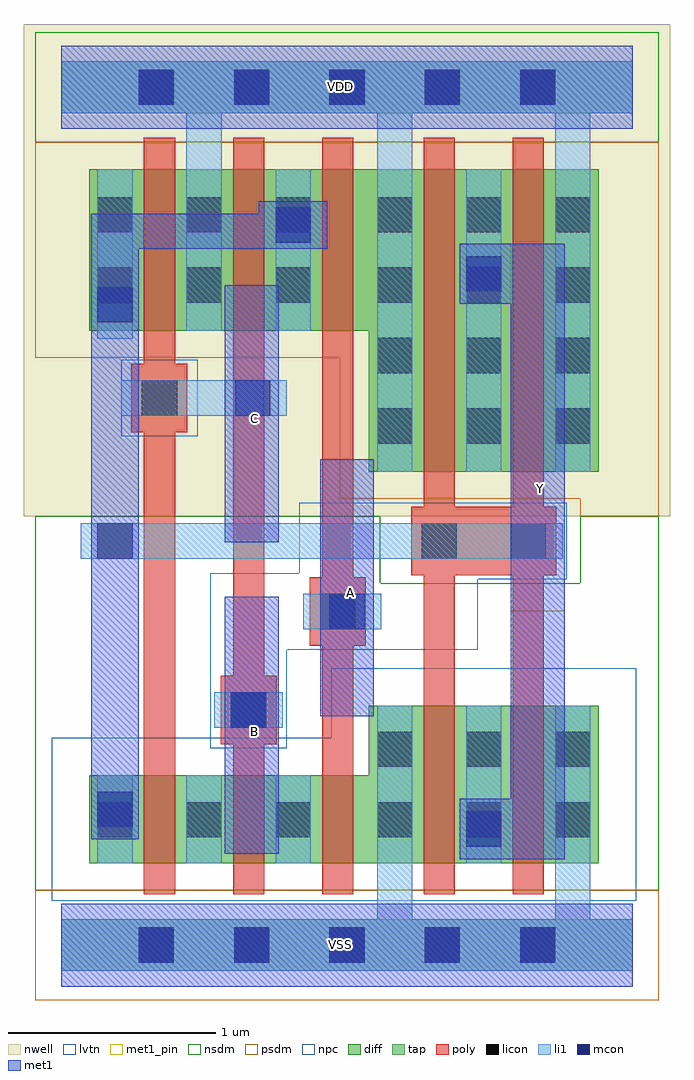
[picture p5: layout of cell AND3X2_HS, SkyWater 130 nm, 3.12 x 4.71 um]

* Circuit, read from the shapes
.subckt AND3X2_HS A B C VDD VSS Y
XM1 n1 C n2 VSS sky130_fd_pr__nfet_01v8_lvt w=0.425 l=0.15
XM2 n3 B n1 VSS sky130_fd_pr__nfet_01v8_lvt w=0.425 l=0.15
XM3 VSS A n3 VSS sky130_fd_pr__nfet_01v8_lvt w=0.425 l=0.15
XM4 Y n2 VSS VSS sky130_fd_pr__nfet_01v8_lvt w=0.76 l=0.15 m=2
XM5 VDD C n2 VDD sky130_fd_pr__pfet_01v8 w=0.78 l=0.15
XM6 n2 B VDD VDD sky130_fd_pr__pfet_01v8 w=0.78 l=0.15
XM7 VDD A n2 VDD sky130_fd_pr__pfet_01v8 w=0.78 l=0.15
XM8 Y n2 VDD VDD sky130_fd_pr__pfet_01v8 w=1.46 l=0.15 m=2
.ends

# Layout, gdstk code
import gdstk
lib = gdstk.Library(unit=1e-6, precision=1e-09)
def R(c, l, rs):  # rectangles x0, y0, x1, y1
    for r in rs: c.add(gdstk.rectangle(r[:2], r[2:], *l))
def A(c, l, x, y, w, h, nx, ny, dx, dy):  # array of equal rectangles
    R(c, l, [(x+i*dx, y+j*dy, x+i*dx+w, y+j*dy+h) for i in range(nx) for j in range(ny)])
def P(c, l, *ps):  # polygons
    for p in ps: c.add(gdstk.Polygon(p, *l))
nwell = (64, 20)
diff = (65, 20)
tap = (65, 44)
poly = (66, 20)
licon = (66, 44)
li1 = (67, 20)
mcon = (67, 44)
met1_pin = (68, 16)
met1 = (68, 20)
nsdm = (93, 44)
psdm = (94, 20)
npc = (95, 20)
lvtn = (125, 44)

licondiff_c_cdns_7507217 = lib.new_cell('LICONDIFF_C_CDNS_750721774075')
R(licondiff_c_cdns_7507217, diff, [(-0.125,-0.145,0.125,0.145)])
R(licondiff_c_cdns_7507217, licon, [(-0.085,-0.085,0.085,0.085), (-0.085,-0.085,0.085,0.085)])

pyl1con_c_cdns_750721774 = lib.new_cell('PYL1CON_C_CDNS_750721774073')
R(pyl1con_c_cdns_750721774, poly, [(-0.135,-0.165,0.135,0.165)])
R(pyl1con_c_cdns_750721774, licon, [(-0.085,-0.085,0.085,0.085)])
R(pyl1con_c_cdns_750721774, npc, [(-0.185,-0.185,0.185,0.185)])

l1m1_c_cdns_750721774072 = lib.new_cell('L1M1_C_CDNS_750721774072')
R(l1m1_c_cdns_750721774072, li1, [(-0.085,-0.165,0.085,0.165)])
R(l1m1_c_cdns_750721774072, mcon, [(-0.085,-0.085,0.085,0.085)])
R(l1m1_c_cdns_750721774072, met1, [(-0.115,-0.145,0.115,0.145)])

l1m1_c_cdns_750721774074 = lib.new_cell('L1M1_C_CDNS_750721774074')
R(l1m1_c_cdns_750721774074, li1, [(-0.165,-0.085,0.165,0.085)])
R(l1m1_c_cdns_750721774074, mcon, [(-0.085,-0.085,0.085,0.085)])
R(l1m1_c_cdns_750721774074, met1, [(-0.115,-0.145,0.115,0.145)])

l1m1_c_cdns_750721774071 = lib.new_cell('L1M1_C_CDNS_7507217740711')
R(l1m1_c_cdns_750721774071, li1, [(-0.085,-0.085,0.085,0.085)])
R(l1m1_c_cdns_750721774071, mcon, [(-0.085,-0.085,0.085,0.085)])
R(l1m1_c_cdns_750721774071, met1, [(-0.165,-0.115,0.165,0.115)])

and3x2_hs = lib.new_cell('AND3X2_HS')
R(and3x2_hs, nwell, [(-0.18,2.07,2.94,4.305), (1.305,2.105,2.775,3.925), (-0.045,2.785,0.785,3.925), (0.425,2.785,1.385,3.925), (1.025,2.785,1.665,3.925), (-0.18,3.875,2.94,4.445)])
A(and3x2_hs, diff, 0.4, 0.395, 0.15, 0.425, 3, 1, 0.43, 0)
A(and3x2_hs, diff, 0.4, 2.965, 0.15, 0.78, 3, 1, 0.43, 0)
R(and3x2_hs, diff, [(0.135,0.395,0.4,0.82), (0.55,0.395,0.605,0.82), (0.605,0.395,0.83,0.82), (0.98,0.395,1.205,0.82), (1.205,0.395,1.26,0.82), (1.41,0.395,1.485,0.82), (1.485,0.395,1.75,1.155), (1.75,0.395,1.9,1.155), (1.9,0.395,2.18,1.155), (2.18,0.395,2.33,1.155), (2.33,0.395,2.595,1.155), (1.485,2.285,1.75,3.745), (1.75,2.285,1.9,3.745), (1.9,2.285,2.18,3.745), (2.18,2.285,2.33,3.745), (2.33,2.285,2.595,3.745), (0.135,2.965,0.4,3.745), (0.55,2.965,0.605,3.745), (0.605,2.965,0.83,3.745), (0.98,2.965,1.205,3.745), (1.205,2.965,1.26,3.745), (1.41,2.965,1.485,3.745)])
A(and3x2_hs, poly, 0.4, 0.245, 0.15, 0.055, 3, 2, 0.43, 0.67)
A(and3x2_hs, poly, 0.4, 0.3, 0.15, 0.095, 3, 2, 0.43, 0.52)
A(and3x2_hs, poly, 0.4, 0.395, 0.15, 0.425, 3, 1, 0.43, 0)
A(and3x2_hs, poly, 0.4, 2.815, 0.15, 0.055, 3, 2, 0.43, 1.025)
A(and3x2_hs, poly, 0.4, 2.87, 0.15, 0.095, 3, 2, 0.43, 0.875)
A(and3x2_hs, poly, 0.4, 2.965, 0.15, 0.78, 3, 1, 0.43, 0)
R(and3x2_hs, poly, [(1.75,0.245,1.9,0.3), (2.18,0.245,2.33,0.3), (1.75,0.3,1.9,0.395), (2.18,0.3,2.33,0.395), (1.75,0.395,1.9,1.155), (2.18,0.395,2.33,1.155), (1.75,1.155,1.9,1.25), (2.18,1.155,2.33,1.25), (1.75,1.25,1.9,1.305), (2.18,1.25,2.33,1.305), (1.69,1.785,2.39,2.115), (1.75,2.135,1.9,2.19), (2.18,2.135,2.33,2.19), (1.75,2.19,1.9,2.285), (2.18,2.19,2.33,2.285), (1.75,2.285,1.9,3.745), (2.18,2.285,2.33,3.745), (1.75,3.745,1.9,3.84), (2.18,3.745,2.33,3.84), (1.75,3.84,1.9,3.895), (2.18,3.84,2.33,3.895)])
A(and3x2_hs, licon, 0.375, -0.085, 0.17, 0.17, 5, 2, 0.46, 4.14)
A(and3x2_hs, licon, 1.525, 0.52, 0.17, 0.17, 3, 2, 0.43, 0.34)
A(and3x2_hs, licon, 1.525, 2.42, 0.17, 0.17, 3, 4, 0.43, 0.34)
A(and3x2_hs, licon, 0.175, 3.1, 0.17, 0.17, 3, 2, 0.43, 0.34)
R(and3x2_hs, licon, [(0.175,0.52,0.345,0.69)])
A(and3x2_hs, li1, 1.525, 0.395, 0.17, 0.76, 3, 1, 0.43, 0)
A(and3x2_hs, li1, 1.525, 2.285, 0.17, 1.46, 3, 1, 0.43, 0)
A(and3x2_hs, li1, 0.175, 2.965, 0.17, 0.78, 3, 1, 0.43, 0)
R(and3x2_hs, li1, [(0.175,0.395,0.345,0.82)])
A(and3x2_hs, mcon, 0.375, -0.085, 0.17, 0.17, 5, 2, 0.46, 4.14)
R(and3x2_hs, met1_pin, [(0.79,0.44,1.05,1.68), (1.25,1.105,1.51,2.345), (2.17,1.61,2.43,3.385), (0.79,1.945,1.05,3.185)])
R(and3x2_hs, nsdm, [(-0.005,0.265,0.615,0.95), (0.595,0.265,1.215,0.95), (1.195,0.265,1.365,0.95), (1.345,0.265,2.735,1.285), (-0.125,3.875,2.885,4.405), (-0.125,3.93,2.885,4.35)])
P(and3x2_hs, nsdm, [(2.885,2.07),(2.505,2.07),(2.505,1.745),(1.54,1.745),(1.54,2.07),(-0.125,2.07),(-0.125,0.265),(2.885,0.265)])
R(and3x2_hs, psdm, [(-0.125,-0.265,2.885,0.265), (-0.125,-0.21,2.885,0.21), (1.345,2.155,2.735,3.875), (-0.005,2.835,0.615,3.875), (0.595,2.835,1.215,3.875), (1.195,2.835,1.365,3.875)])
P(and3x2_hs, psdm, [(2.885,3.875),(-0.125,3.875),(-0.125,2.835),(1.345,2.835),(1.345,2.155),(2.505,2.155),(2.505,2.07),(2.885,2.07)])
R(and3x2_hs, npc, [(1.15,1.425,2.01,2.135), (1.64,1.765,2.44,2.135)])
P(and3x2_hs, npc, [(1.52,1.795),(0.72,1.795),(0.72,0.95),(1.09,0.95),(1.09,1.425),(1.52,1.425)])
R(and3x2_hs, lvtn, [(-0.045,0.215,0.785,1), (0.425,0.215,1.385,1), (1.025,0.215,1.665,1), (1.305,0.215,2.775,1.335)])
and3x2_hs.add(gdstk.FlexPath([(0,0),(2.76,0)], 0.25, ends="flush", simple_path=True, layer=65, datatype=44))  # tap
and3x2_hs.add(gdstk.FlexPath([(0,4.14),(2.76,4.14)], 0.25, ends="flush", simple_path=True, layer=65, datatype=44))  # tap
and3x2_hs.add(gdstk.FlexPath([(2.255,1.95),(2.39,1.95)], 0.15, ends=(0.075, 0), simple_path=True, layer=66, datatype=20))  # poly
and3x2_hs.add(gdstk.FlexPath([(2.255,2.135),(2.255,1.95)], 0.15, ends="flush", simple_path=True, layer=66, datatype=20))  # poly
and3x2_hs.add(gdstk.FlexPath([(2.255,1.25),(2.255,1.95)], 0.15, ends="flush", simple_path=True, layer=66, datatype=20))  # poly
and3x2_hs.add(gdstk.FlexPath([(1.825,2.135),(1.825,1.25)], 0.15, ends="flush", simple_path=True, layer=66, datatype=20))  # poly
and3x2_hs.add(gdstk.FlexPath([(1.335,0.97),(1.335,2.83)], 0.15, ends="flush", simple_path=True, layer=66, datatype=20))  # poly
and3x2_hs.add(gdstk.FlexPath([(0.475,0.97),(0.475,2.83)], 0.15, ends="flush", simple_path=True, layer=66, datatype=20))  # poly
and3x2_hs.add(gdstk.FlexPath([(0.905,1.11),(0.905,2.83)], 0.15, ends="flush", simple_path=True, layer=66, datatype=20))  # poly
and3x2_hs.add(gdstk.FlexPath([(1.61,0),(2.47,0)], 0.25, ends=(0.085, 0.085), simple_path=True, layer=67, datatype=20))  # li1
and3x2_hs.add(gdstk.FlexPath([(2.47,0.59),(2.47,0)], 0.17, ends=(0, 0.125), simple_path=True, layer=67, datatype=20))  # li1
and3x2_hs.add(gdstk.FlexPath([(0,0),(1.61,0)], 0.25, ends=(0, 0.085), simple_path=True, layer=67, datatype=20))  # li1
and3x2_hs.add(gdstk.FlexPath([(1.61,0.59),(1.61,0)], 0.17, ends=(0, 0.125), simple_path=True, layer=67, datatype=20))  # li1
and3x2_hs.add(gdstk.FlexPath([(0,4.14),(0.69,4.14)], 0.25, ends=(0, 0.085), simple_path=True, layer=67, datatype=20))  # li1
and3x2_hs.add(gdstk.FlexPath([(0.69,3.55),(0.69,4.14)], 0.17, ends=(0, 0.125), simple_path=True, layer=67, datatype=20))  # li1
and3x2_hs.add(gdstk.FlexPath([(0.69,4.14),(1.61,4.14)], 0.25, ends=(0.085, 0.085), simple_path=True, layer=67, datatype=20))  # li1
and3x2_hs.add(gdstk.FlexPath([(1.61,3.55),(1.61,4.14)], 0.17, ends=(0, 0.125), simple_path=True, layer=67, datatype=20))  # li1
and3x2_hs.add(gdstk.FlexPath([(1.61,4.14),(2.47,4.14)], 0.25, ends=(0.085, 0.085), simple_path=True, layer=67, datatype=20))  # li1
and3x2_hs.add(gdstk.FlexPath([(2.47,0),(2.76,0)], 0.25, ends=(0.085, 0), simple_path=True, layer=67, datatype=20))  # li1
and3x2_hs.add(gdstk.FlexPath([(2.47,4.14),(2.76,4.14)], 0.25, ends=(0.085, 0), simple_path=True, layer=67, datatype=20))  # li1
and3x2_hs.add(gdstk.FlexPath([(2.47,3.55),(2.47,4.14)], 0.17, ends=(0, 0.125), simple_path=True, layer=67, datatype=20))  # li1
and3x2_hs.add(gdstk.FlexPath([(0.64,2.64),(0.29,2.64)], 0.17, ends="flush", simple_path=True, layer=67, datatype=20))  # li1
and3x2_hs.add(gdstk.FlexPath([(1.38,1.61),(1.17,1.61)], 0.17, ends="flush", simple_path=True, layer=67, datatype=20))  # li1
and3x2_hs.add(gdstk.FlexPath([(2.42,1.95),(0.095,1.95)], 0.17, ends="flush", simple_path=True, layer=67, datatype=20))  # li1
and3x2_hs.add(gdstk.FlexPath([(0.855,2.64),(0.31,2.64)], 0.17, ends="flush", simple_path=True, layer=67, datatype=20))  # li1
and3x2_hs.add(gdstk.FlexPath([(0.69,0.395),(0.69,0.82)], 0.17, ends="flush", simple_path=True, layer=67, datatype=20))  # li1
and3x2_hs.add(gdstk.FlexPath([(1.12,0.395),(1.12,0.82)], 0.17, ends="flush", simple_path=True, layer=67, datatype=20))  # li1
and3x2_hs.add(gdstk.FlexPath([(0,4.14),(2.76,4.14)], 0.4, ends="flush", simple_path=True, layer=68, datatype=20))  # met1
and3x2_hs.add(gdstk.FlexPath([(0.92,1.945),(0.92,3.185)], 0.26, ends="flush", simple_path=True, layer=68, datatype=20))  # met1
and3x2_hs.add(gdstk.FlexPath([(2.3,3.255),(2.3,0.755)], 0.26, ends=(0.13, 0.145), simple_path=True, layer=68, datatype=20))  # met1
and3x2_hs.add(gdstk.FlexPath([(1.38,1.105),(1.38,2.345)], 0.26, ends="flush", simple_path=True, layer=68, datatype=20))  # met1
and3x2_hs.add(gdstk.FlexPath([(0.92,0.44),(0.92,1.68)], 0.26, ends="flush", simple_path=True, layer=68, datatype=20))  # met1
and3x2_hs.add(gdstk.FlexPath([(1.12,3.445),(0.26,3.445)], 0.17, ends=(0.115, 0.115), simple_path=True, layer=68, datatype=20))  # met1
and3x2_hs.add(gdstk.FlexPath([(0.26,3.375),(0.26,0.705)], 0.23, ends="flush", simple_path=True, layer=68, datatype=20))  # met1
and3x2_hs.add(gdstk.FlexPath([(2.04,3.24),(2.155,3.24)], 0.29, ends=(0, 0.145), simple_path=True, layer=68, datatype=20))  # met1
and3x2_hs.add(gdstk.FlexPath([(0,0),(2.76,0)], 0.4, ends="flush", simple_path=True, layer=68, datatype=20))  # met1
and3x2_hs.add(gdstk.FlexPath([(2.155,3.24),(2.155,3.215)], 0.29, ends=(0.145, 0), simple_path=True, layer=68, datatype=20))  # met1
and3x2_hs.add(gdstk.FlexPath([(2.3,0.56),(2.04,0.56)], 0.29, ends=(0.13, 0), simple_path=True, layer=68, datatype=20))  # met1
and3x2_hs.add(gdstk.FlexPath([(0,4.14),(2.76,4.14)], 0.4, ends="flush", simple_path=True, layer=68, datatype=16))  # met1_pin
and3x2_hs.add(gdstk.FlexPath([(0,0),(2.76,0)], 0.4, ends="flush", simple_path=True, layer=68, datatype=16))  # met1_pin
and3x2_hs.add(gdstk.Reference(licondiff_c_cdns_7507217, (0.69,0.605)))
and3x2_hs.add(gdstk.Reference(licondiff_c_cdns_7507217, (1.12,0.605)))
and3x2_hs.add(gdstk.Reference(pyl1con_c_cdns_750721774, (0.475,2.64), x_reflection=True))
and3x2_hs.add(gdstk.Reference(pyl1con_c_cdns_750721774, (0.905,1.135), x_reflection=True))
and3x2_hs.add(gdstk.Reference(pyl1con_c_cdns_750721774, (1.335,1.61), x_reflection=True))
and3x2_hs.add(gdstk.Reference(pyl1con_c_cdns_750721774, (2.255,1.95), x_reflection=True))
and3x2_hs.add(gdstk.Reference(pyl1con_c_cdns_750721774, (1.825,1.95), x_reflection=True))
and3x2_hs.add(gdstk.Reference(l1m1_c_cdns_750721774072, (2.04,3.24)))
and3x2_hs.add(gdstk.Reference(l1m1_c_cdns_750721774072, (2.04,0.56)))
and3x2_hs.add(gdstk.Reference(l1m1_c_cdns_750721774072, (0.26,3.09)))
and3x2_hs.add(gdstk.Reference(l1m1_c_cdns_750721774072, (0.26,0.655)))
and3x2_hs.add(gdstk.Reference(l1m1_c_cdns_750721774074, (0.925,2.64), x_reflection=True))
and3x2_hs.add(gdstk.Reference(l1m1_c_cdns_750721774074, (1.38,1.61), x_reflection=True))
and3x2_hs.add(gdstk.Reference(l1m1_c_cdns_750721774074, (0.905,1.135)))
and3x2_hs.add(gdstk.Reference(l1m1_c_cdns_750721774074, (0.26,1.95)))
and3x2_hs.add(gdstk.Reference(l1m1_c_cdns_750721774071, (1.12,3.475)))
and3x2_hs.add(gdstk.Label('VDD', (1.35,4.145), layer=68, texttype=5))
and3x2_hs.add(gdstk.Label('A', (1.395,1.7), layer=68, texttype=5))
and3x2_hs.add(gdstk.Label('VSS', (1.35,0.005), layer=68, texttype=5))
and3x2_hs.add(gdstk.Label('B', (0.935,1.03), layer=68, texttype=5))
and3x2_hs.add(gdstk.Label('Y', (2.315,2.205), layer=68, texttype=5))
and3x2_hs.add(gdstk.Label('C', (0.935,2.54), layer=68, texttype=5))

lib.write_gds('AND3X2_HS.gds')
